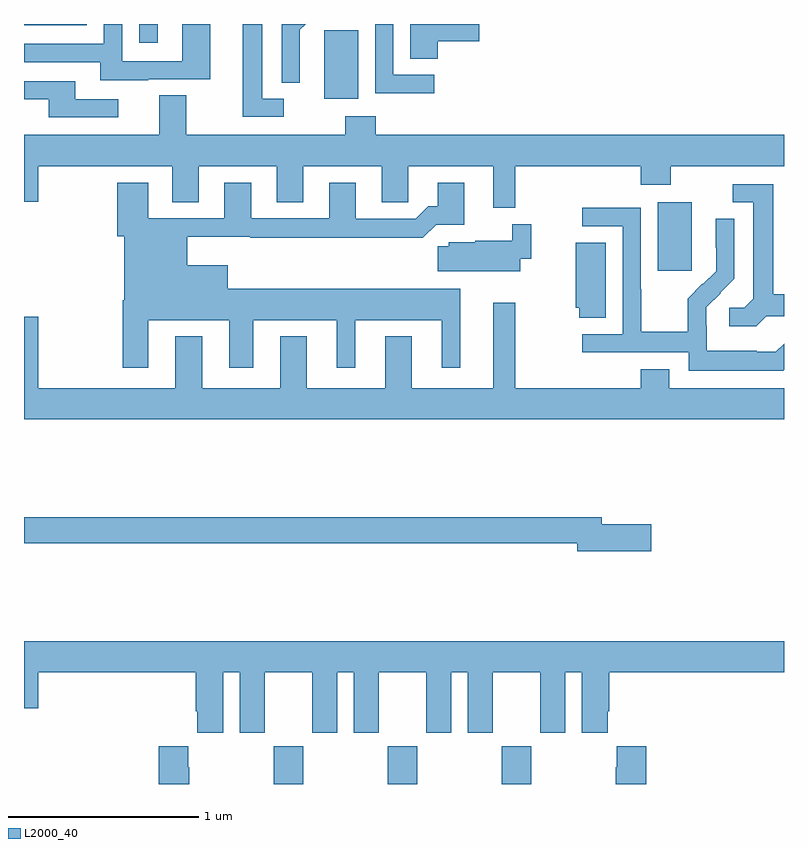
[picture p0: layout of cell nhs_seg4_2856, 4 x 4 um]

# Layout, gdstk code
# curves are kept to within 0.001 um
import gdstk
lib = gdstk.Library(unit=1e-6, precision=1e-09)
def R(c, l, rs):  # rectangles x0, y0, x1, y1
    for r in rs: c.add(gdstk.rectangle(r[:2], r[2:], *l))
def A(c, l, x, y, w, h, nx, ny, dx, dy):  # array of equal rectangles
    R(c, l, [(x+i*dx, y+j*dy, x+i*dx+w, y+j*dy+h) for i in range(nx) for j in range(ny)])
def P(c, l, *ps):  # polygons
    for p in ps: c.add(gdstk.Polygon(p, *l))
L2000_40 = (2000, 40)

nhs_seg4_2856 = lib.new_cell('nhs_seg4_2856')
A(nhs_seg4_2856, L2000_40, 262.315, 794.9, 0.155, 0.2, 3, 1, 0.6, 0)
R(nhs_seg4_2856, L2000_40, [(264.335,797.601,264.514,797.962), (262.58,798.506,262.759,798.867), (261.606,798.801,261.703,798.9), (261,798.894,261.33,798.9)])
P(nhs_seg4_2856, L2000_40, [(263.177,798.809),(263.395,798.809),(263.395,798.9),(263.033,798.9),(263.033,798.718),(263.177,798.718)],
  [(262.366,798.507),(262.255,798.507),(262.255,798.9),(262.151,798.9),(262.151,798.411),(262.366,798.411)],
  [(261.655,798.609),(261.979,798.609),(261.979,798.9),(261.834,798.9),(261.834,798.705),(261.516,798.705),(261.516,798.9),(261.42,798.9),(261.42,798.795),(261,798.795),(261,798.699),(261.401,798.699),(261.401,798.605),(261.655,798.605)],
  [(262.452,798.746),(262.451,798.746),(262.451,798.869),(262.482,798.9),(262.356,798.9),(262.356,798.592),(262.452,798.592)],
  [(263.158,798.633),(262.944,798.633),(262.944,798.9),(262.848,798.9),(262.848,798.535),(263.158,798.535)],
  [(261.496,798.504),(261.271,798.504),(261.271,798.6),(261,798.6),(261,798.504),(261.131,798.504),(261.131,798.408),(261.496,798.408)],
  [(263.585,798.152),(264.245,798.152),(264.245,798.053),(264.405,798.053),(264.405,798.152),(265,798.152),(265,798.316),(262.85,798.316),(262.85,798.415),(262.69,798.415),(262.69,798.316),(261.853,798.316),(261.853,798.524),(261.713,798.524),(261.713,798.316),(261,798.316),(261,797.964),(261.076,797.964),(261.076,798.152),(261.779,798.152),(261.779,797.962),(261.919,797.962),(261.919,798.152),(262.331,798.152),(262.331,797.962),(262.471,797.962),(262.471,798.152),(262.883,798.152),(262.883,797.962),(263.022,797.962),(263.022,798.152),(263.471,798.152),(263.471,797.932),(263.585,797.932)],
  [(261.655,797.342),(262.079,797.342),(262.079,797.091),(262.207,797.091),(262.207,797.342),(262.646,797.342),(262.646,797.091),(262.744,797.091),(262.744,797.342),(263.198,797.342),(263.198,797.091),(263.296,797.091),(263.296,797.506),(262.072,797.506),(262.072,797.629),(261.859,797.629),(261.859,797.78),(262.191,797.78),(262.191,797.776),(262.843,797.776),(262.843,797.774),(263.099,797.774),(263.169,797.844),(263.317,797.844),(263.317,798.064),(263.177,798.064),(263.177,797.941),(263.128,797.941),(263.061,797.874),(262.747,797.874),(262.747,798.064),(262.607,798.064),(262.607,797.877),(262.195,797.877),(262.195,798.064),(262.055,798.064),(262.055,797.877),(261.655,797.877),(261.655,798.064),(261.491,798.064),(261.491,797.784),(261.527,797.784),(261.527,797.446),(261.52,797.446),(261.52,797.091),(261.655,797.091)],
  [(264.906,797.361),(265,797.361),(265,797.477),(264.943,797.477),(264.943,798.057),(264.729,798.057),(264.729,797.961),(264.839,797.961),(264.839,797.453),(264.792,797.406),(264.711,797.406),(264.711,797.309),(264.854,797.309)],
  [(265,797.08),(265,797.218),(264.957,797.175),(264.857,797.175),(264.857,797.179),(264.594,797.179),(264.594,797.313),(264.592,797.313),(264.592,797.41),(264.738,797.558),(264.738,797.876),(264.642,797.876),(264.642,797.722),(264.644,797.722),(264.644,797.6),(264.573,797.529),(264.57,797.532),(264.493,797.455),(264.493,797.281),(264.249,797.281),(264.249,797.504),(264.246,797.504),(264.246,797.934),(263.937,797.934),(263.937,797.835),(264.15,797.835),(264.15,797.268),(263.937,797.268),(263.937,797.172),(264.498,797.172),(264.498,797.075),(264.995,797.075)],
  [(263.611,797.664),(263.67,797.664),(263.67,797.847),(263.569,797.847),(263.569,797.76),(263.376,797.76),(263.376,797.752),(263.235,797.752),(263.235,797.729),(263.178,797.729),(263.178,797.6),(263.611,797.6)],
  [(264.061,797.75),(263.903,797.75),(263.903,797.406),(263.923,797.406),(263.923,797.353),(264.061,797.353)],
  [(264.245,797.083),(264.245,796.984),(263.585,796.984),(263.585,797.434),(263.471,797.434),(263.471,796.984),(263.041,796.984),(263.041,797.257),(262.901,797.257),(262.901,796.984),(262.489,796.984),(262.489,797.257),(262.349,797.257),(262.349,796.984),(261.937,796.984),(261.937,797.257),(261.797,797.257),(261.797,796.984),(261.076,796.984),(261.076,797.359),(261,797.359),(261,796.82),(265,796.82),(265,796.984),(264.397,796.984),(264.397,797.083)],
  [(264.301,796.268),(264.04,796.268),(264.04,796.304),(261,796.304),(261,796.168),(263.912,796.168),(263.912,796.126),(264.301,796.126)],
  [(261,795.3),(261.076,795.3),(261.076,795.488),(261.904,795.488),(261.904,795.283),(261.911,795.283),(261.911,795.171),(262.048,795.171),(262.048,795.488),(262.136,795.488),(262.136,795.171),(262.267,795.171),(262.267,795.488),(262.517,795.488),(262.517,795.171),(262.648,795.171),(262.648,795.488),(262.736,795.488),(262.736,795.171),(262.867,795.171),(262.867,795.488),(263.117,795.488),(263.117,795.171),(263.248,795.171),(263.248,795.488),(263.336,795.488),(263.336,795.171),(263.467,795.171),(263.467,795.488),(263.717,795.488),(263.717,795.171),(263.848,795.171),(263.848,795.488),(263.936,795.488),(263.936,795.171),(264.073,795.171),(264.073,795.283),(264.08,795.283),(264.08,795.488),(265,795.488),(265,795.652),(261,795.652)],
  [(261.87,794.987),(261.865,794.987),(261.865,795.1),(261.71,795.1),(261.71,794.9),(261.87,794.9)],
  [(264.275,795.1),(264.119,795.1),(264.119,794.987),(264.115,794.987),(264.115,794.9),(264.275,794.9)])

lib.write_gds('nhs_seg4_2856.gds')
